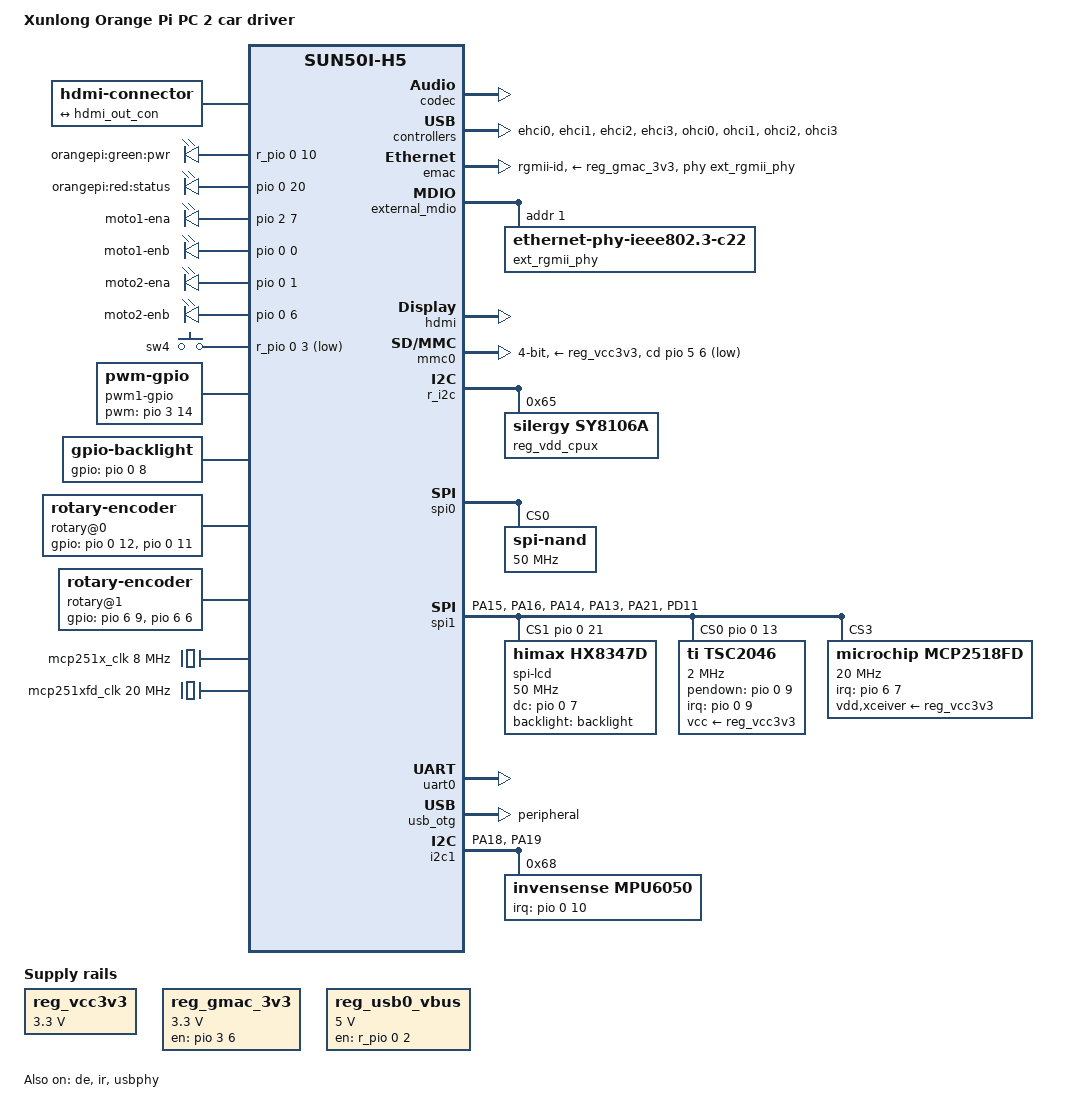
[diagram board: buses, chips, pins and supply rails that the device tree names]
// SPDX-License-Identifier: (GPL-2.0+ OR MIT)
// Copyright (C) 2016 ARM Ltd.

/dts-v1/;
#include "sun50i-h5.dtsi"

#include <dt-bindings/gpio/gpio.h>
#include <dt-bindings/input/input.h>
#include <dt-bindings/pinctrl/sun4i-a10.h>
#include <dt-bindings/pwm/pwm.h>

/ {
	model = "Xunlong Orange Pi PC 2 car driver";
	compatible = "xunlong,orangepi-pc2-driver", "allwinner,sun50i-h5";

	reg_vcc3v3: vcc3v3 {
		compatible = "regulator-fixed";
		regulator-name = "vcc3v3";
		regulator-min-microvolt = <3300000>;
		regulator-max-microvolt = <3300000>;
	};

	aliases {
		ethernet0 = &emac;
		serial0 = &uart0;
		spi0 = &spi0;
	};

	chosen {
		stdout-path = "serial0:115200n8";
	};

	soc {
		pwm: pwm@1c21400 {
			compatible = "allwinner,sun7i-a20-pwm";
            reg = <0x01c21400 0xc>;
			clocks = <&osc24M>;
			#pwm-cells = <3>;
			status = "disabled";
		};
	};

	connector {
		compatible = "hdmi-connector";
		type = "a";

		port {
			hdmi_con_in: endpoint {
				remote-endpoint = <&hdmi_out_con>;
			};
		};
	};

	leds {
		compatible = "gpio-leds";

		pwr {
			label = "orangepi:green:pwr";
			gpios = <&r_pio 0 10 GPIO_ACTIVE_HIGH>;
			default-state = "on";
			linux,default-trigger = "heartbeat";
		};

		status {
			label = "orangepi:red:status";
			gpios = <&pio 0 20 GPIO_ACTIVE_HIGH>;
			linux,default-trigger = "timer";
		};

		moto1-ena {
			label = "moto1-ena";
			gpios = <&pio 2 7 GPIO_ACTIVE_HIGH>; // PC7
			default-state = "on";
		};

		moto1-enb {
			label = "moto1-enb";
			gpios = <&pio 0 0 GPIO_ACTIVE_HIGH>; // PA0
			default-state = "on";
		};

		moto2-ena {
			label = "moto2-ena";
			gpios = <&pio 0 1 GPIO_ACTIVE_HIGH>; // PA1
			default-state = "on";
		};

		moto2-enb {
			label = "moto2-enb";
			gpios = <&pio 0 6 GPIO_ACTIVE_HIGH>; // PA6
			default-state = "on";
		};
	};

	r-gpio-keys {
		compatible = "gpio-keys";

		sw4 {
			label = "sw4";
			linux,code = <KEY_POWER>;
			gpios = <&r_pio 0 3 GPIO_ACTIVE_LOW>;
			wakeup-source;
		};
	};

	pwm1-gpio {
		compatible = "pwm-gpio";
		#pwm-cells = <3>;

		pwm-gpio = <&pio 3 14 GPIO_ACTIVE_HIGH>; // PD14
	};

	backlight: backlight {
		compatible = "gpio-backlight";
		pinctrl-names = "default";
		pinctrl-0 = <&backlight_pins>;

		gpios = <&pio 0 8 GPIO_ACTIVE_HIGH>; // PA8
		backlight-boot-on;
	};

	rotary@0 {
		compatible = "rotary-encoder";
		gpios = <&pio 0 12 GPIO_ACTIVE_HIGH>, <&pio 0 11 GPIO_ACTIVE_HIGH>; //PA12 PA11
		linux,axis = <0>; /* REL_X */
		rotary-encoder,encoding = "gray";
		rotary-encoder,relative-axis;
		status = "okay";
	};

	rotary@1 {
		compatible = "rotary-encoder";
		gpios = <&pio 6 9 GPIO_ACTIVE_HIGH>, <&pio 6 6 GPIO_ACTIVE_HIGH>; //PG9 PG6
		linux,axis = <1>; /* REL_X */
		rotary-encoder,encoding = "gray";
		rotary-encoder,relative-axis;
		status = "okay";
	};

	reg_gmac_3v3: gmac-3v3 {
		compatible = "regulator-fixed";
		regulator-name = "gmac-3v3";
		regulator-min-microvolt = <3300000>;
		regulator-max-microvolt = <3300000>;
		startup-delay-us = <100000>;
		enable-active-high;
		gpio = <&pio 3 6 GPIO_ACTIVE_HIGH>;
	};

	reg_usb0_vbus: usb0-vbus {
		compatible = "regulator-fixed";
		regulator-name = "usb0-vbus";
		regulator-min-microvolt = <5000000>;
		regulator-max-microvolt = <5000000>;
		enable-active-high;
		gpio = <&r_pio 0 2 GPIO_ACTIVE_HIGH>; /* PL2 */
		status = "okay";
	};

	mcp251x_clk: can-osc {
		compatible = "fixed-clock";
		#clock-cells = <0>;
		clock-frequency = <8000000>;
	};

	mcp251xfd_clk: canfd-osc {
		compatible = "fixed-clock";
		#clock-cells = <0>;
		clock-frequency = <20000000>;
	};
};

&codec {
	allwinner,audio-routing =
		"Line Out", "LINEOUT",
		"MIC1", "Mic",
		"Mic",  "MBIAS";
	status = "okay";
};

&cpu0 {
	cpu-supply = <&reg_vdd_cpux>;
};

&de {
	status = "okay";
};

&ehci0 {
	status = "okay";
};

&ehci1 {
	status = "okay";
};

&ehci2 {
	status = "okay";
};

&ehci3 {
	status = "okay";
};

&emac {
	pinctrl-names = "default";
	pinctrl-0 = <&emac_rgmii_pins>;
	phy-supply = <&reg_gmac_3v3>;
	phy-handle = <&ext_rgmii_phy>;
	phy-mode = "rgmii-id";
	status = "okay";
};

&external_mdio {
	ext_rgmii_phy: ethernet-phy@1 {
		compatible = "ethernet-phy-ieee802.3-c22";
		reg = <1>;
	};
};

&hdmi {
	status = "okay";
};

&hdmi_out {
	hdmi_out_con: endpoint {
		remote-endpoint = <&hdmi_con_in>;
	};
};

&ir {
	pinctrl-names = "default";
	pinctrl-0 = <&r_ir_rx_pin>;
	status = "okay";
};

&mmc0 {
	vmmc-supply = <&reg_vcc3v3>;
	bus-width = <4>;
	cd-gpios = <&pio 5 6 GPIO_ACTIVE_LOW>; /* PF6 */
	status = "okay";
};

&ohci0 {
	status = "okay";
};

&ohci1 {
	status = "okay";
};

&ohci2 {
	status = "okay";
};

&ohci3 {
	status = "okay";
};

&r_i2c {
	status = "okay";

	reg_vdd_cpux: regulator@65 {
		compatible = "silergy,sy8106a";
		reg = <0x65>;
		regulator-name = "vdd-cpux";
		silergy,fixed-microvolt = <1100000>;
		regulator-min-microvolt = <1000000>;
		regulator-max-microvolt = <1400000>;
		regulator-ramp-delay = <200>;
		regulator-boot-on;
		regulator-always-on;
	};
};

&spi0  {
	status = "okay";

	spi-nor@0 {
		#address-cells = <1>;
		#size-cells = <1>;
		compatible = "jedec,spi-nor";
		reg = <0>;
		spi-max-frequency = <40000000>;
		status = "disabled";
	};

	spi-nand@0 {
		#address-cells = <1>;
		#size-cells = <1>;
		compatible = "spi-nand";
		reg = <0>;
		spi-max-frequency = <50000000>;
		status = "okay";
	};
};

&pio {
	spi1_pins_cs1: spi1_pins_cs1 {
		pins = "PA13", "PA21", "PD11";
		function = "gpio_out";
	};

	spi1_pins: spi1-pins {
		pins = "PA15", "PA16", "PA14", "PA13";
		function = "spi1";
	};

	i2c0_pa_pins: i2c0_pins {
		pins = "PA11", "PA12";
		function = "i2c0";
	};

	i2c1_pa_pins: i2c1_pins {
		pins = "PA18", "PA19";
		function = "i2c1";
	};

	pwm0_pin: pwm0@0 {
		pins = "PA5";
		function = "pwm0";
	};

	pwm1_pin: pwm1@0 {
		pins = "PA6";
		function = "pwm1";
	};

	moto1_speed_pin: speed@0 {
		pins = "PA3";
		function = "gpio_out";
	};

	moto2_speed_pin: speed@0 {
		pins = "PC4";
		function = "gpio_out";
	};

	backlight_pins: backlight-pins {
		pins = "PA8";
		function = "gpio_out";
		drive-strength = <30>;
	};

	t_irq: t_irq-pins {
		pins = "PA9";
		function = "gpio_in";
	};

	can0_int: can0-int {
		pins = "PG7";
		function = "gpio_in";
	};
};

&spi1 {
	#address-cells = <1>;
	#size-cells = <0>;
	pinctrl-names = "default";
	spi-num-chipselects = <3>;
	pinctrl-0 = <&spi1_pins &spi1_pins_cs1>;
	cs-gpios = <&pio 0 13 GPIO_ACTIVE_HIGH>, <&pio 0 21 GPIO_ACTIVE_HIGH>, <&pio 3 11 GPIO_ACTIVE_HIGH>;
	status = "okay";

	spi-lcd@1 {
		compatible = "himax,hx8347d";
		// compatible = "ilitek,ili9341";
		reg = <1>;
		status = "okay";
		spi-max-frequency = <50000000>;
		rotate = <270>;
		bgr;
		fps = <30>;
		buswidth = <8>;
		// reset-gpios = <&pio 6 8 GPIO_ACTIVE_LOW>; // PG8
		dc-gpios = <&pio 0 7 GPIO_ACTIVE_HIGH>;	// PA7
		debug = <0>;
		backlight = <&backlight>;
	};

	tsc2046@0 {
		reg = <0>;	/* CS0 */
		compatible = "ti,tsc2046";
		pinctrl-names = "default";
		pinctrl-0 = <&t_irq>;
		interrupt-parent = <&pio>;
		interrupts = <0 9 IRQ_TYPE_EDGE_FALLING>;	//PA9
		spi-max-frequency = <2000000>;
		pendown-gpio = <&pio 0 9 GPIO_ACTIVE_HIGH>;
		vcc-supply = <&reg_vcc3v3>;

		ti,x-min = /bits/ 16 <0>;
		ti,x-max = /bits/ 16 <320>;
		ti,y-min = /bits/ 16 <0>;
		ti,y-max = /bits/ 16 <240>;
		ti,x-plate-ohms = /bits/ 16 <40>;
		ti,pressure-max = /bits/ 16 <255>;

		wakeup-source;
		status = "okay";
	};

	mcp2515@0 {
		compatible = "microchip,mcp2515";
		spi-max-frequency = <5000000>;
		reg = <3>;
		clocks = <&mcp251x_clk>;
		vdd-supply = <&reg_vcc3v3>;
		xceiver-supply = <&reg_vcc3v3>;
		interrupt-parent = <&pio>;
		interrupts = <6 7 IRQ_TYPE_EDGE_FALLING>;
		pinctrl-names = "default";
		pinctrl-0 = <&can0_int>;
		status = "disabled";
	};

	mcp2518fd@0 {
		compatible = "microchip,mcp2518fd";
		spi-max-frequency = <20000000>;
		reg = <3>;
		clocks = <&mcp251xfd_clk>;
		vdd-supply = <&reg_vcc3v3>;
		xceiver-supply = <&reg_vcc3v3>;
		interrupt-parent = <&pio>;
		interrupts = <6 7 IRQ_TYPE_EDGE_FALLING>;
		pinctrl-names = "default";
		pinctrl-0 = <&can0_int>;
		status = "okay";
	};

};

&uart0 {
	pinctrl-names = "default";
	pinctrl-0 = <&uart0_pa_pins>;
	status = "okay";
};

&uart1 {
	pinctrl-names = "default";
	pinctrl-0 = <&uart1_pins>;
	status = "disabled";
};

&uart2 {
	pinctrl-names = "default";
	pinctrl-0 = <&uart2_pins>;
	status = "disabled";
};

&pwm {
	pinctrl-names = "default";
	pinctrl-0 = <&pwm0_pin>, <&pwm1_pin>;
	status = "disabled";
};

&usb_otg {
	dr_mode = "peripheral";
	status = "okay";
};

&usbphy {
	/* USB Type-A ports' VBUS is always on */
	usb0_id_det-gpios = <&pio 6 12 GPIO_ACTIVE_HIGH>; /* PG12 */
	usb0_vbus-supply = <&reg_usb0_vbus>;
	status = "okay";
};

&i2c0 {
	pinctrl-names = "default";
	pinctrl-0 = <&i2c0_pa_pins>;
	status = "disabled";
};

&i2c1 {
	pinctrl-names = "default";
	pinctrl-0 = <&i2c1_pa_pins>;
	status = "okay";

	mpu6050@68 {
		compatible = "invensense,mpu6050";
		reg = <0x68>;
		status = "okay";
		interrupt-parent = <&pio>;
		interrupts = <0 10 IRQ_TYPE_EDGE_RISING>; // PA10
		orientation = <0xff 0 0 0 1 0 0 0 0xff>;
	};
};
